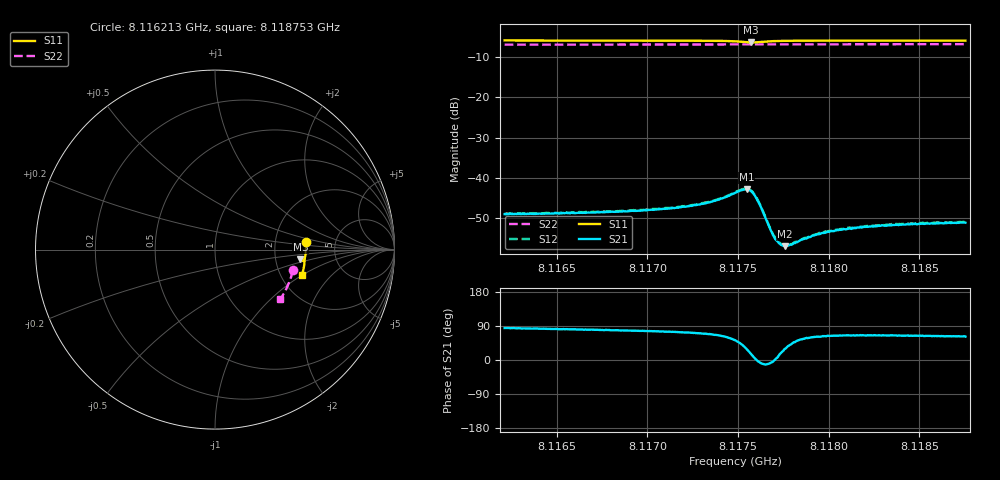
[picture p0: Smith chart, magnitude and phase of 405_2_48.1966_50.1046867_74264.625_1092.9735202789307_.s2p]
#  HZ  S  RI  R  50.00
! Rohde & Schwarz Vector Network Analyzer
! Rohde-Schwarz,ZNB20-2Port,1311601062101988,3.16
! Created: UTC 3/20/2024, 11:54:11 AM
! freq[Hz]  re:S11  im:S11  re:S21  im:S21  re:S12  im:S12  re:S22  im:S22
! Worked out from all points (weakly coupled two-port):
!   401 points, 8.116213 GHz to 8.118753 GHz, reference 50 ohm
!   highest |S21| = -42.85 dB at 8.117547 GHz (marker M1); lowest = -57.0 dB at 8.117756 GHz (marker M2)
!   lowest |S11| = -6.4 dB at 8.117572 GHz (marker M3), VSWR 2.84, Z = 139 - j19.6 ohm
!   |S11| at or under -10 dB: nowhere
!   |S22| runs from -7.0 to -6.8 dB; largest |S21 - S12| = 0.00019
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8.1162129e9  0.5053 0.0425  0.000347 0.00352  0.00039 0.00353  0.4341 -0.1155
8.1166384e9  0.5063 0.0102  0.000612 0.00363  0.000662 0.0037  0.4267 -0.1443
8.1170639e9  0.5051 -0.0229  0.00103 0.00393  0.00108 0.00401  0.4175 -0.1724
8.1172291e9  0.5032 -0.0367  0.00136 0.00423  0.00142 0.00427  0.4131 -0.1833
8.117318e9  0.5016 -0.0448  0.00168 0.00452  0.00181 0.00462  0.411 -0.189
8.1174069e9  0.498 -0.0537  0.00245 0.00495  0.00253 0.00498  0.4082 -0.1948
8.1174831e9  0.4906 -0.0613  0.00397 0.00514  0.00409 0.0052  0.4058 -0.1997
8.1175212e9  0.4838 -0.0626  0.00533 0.00457  0.0055 0.00465  0.4044 -0.202
8.1175466e9  0.4788 -0.0601  0.00628 0.00353  0.00645 0.00354  0.4036 -0.2033
8.117572e9  0.476 -0.0545  0.00657 0.00183  0.00673 0.0018  0.4028 -0.2046
8.1175911e9  0.4772 -0.0497  0.00606 0.000542  0.00618 0.000487  0.4023 -0.2054
8.1176101e9  0.4808 -0.0465  0.00512 -0.000313  0.00523 -0.000366  0.4021 -0.2066
8.11768e9  0.4935 -0.0497  0.00222 -0.000287  0.00225 -0.000288  0.4007 -0.2111
8.1177054e9  0.4958 -0.0528  0.00173 4.7e-05  0.00177 3.53e-05  0.4 -0.2128
8.1177308e9  0.497 -0.0559  0.00146 0.000418  0.00151 0.000373  0.3992 -0.2144
8.1177562e9  0.498 -0.0592  0.00124 0.000683  0.0013 0.000672  0.3984 -0.2159
8.1177943e9  0.4986 -0.0633  0.0011 0.000986  0.00114 0.000982  0.3972 -0.2186
8.1179086e9  0.4986 -0.0744  0.000956 0.00166  0.000965 0.00166  0.3936 -0.2258
8.1180039e9  0.4977 -0.0827  0.000954 0.00191  0.000993 0.00196  0.3906 -0.2316
8.1181055e9  0.4963 -0.0909  0.000981 0.00211  0.00102 0.00216  0.3872 -0.2379
8.1183341e9  0.493 -0.1085  0.00111 0.00232  0.00117 0.00237  0.3791 -0.2519
8.1187532e9  0.4848 -0.1392  0.00131 0.00244  0.00134 0.00254  0.363 -0.2765
